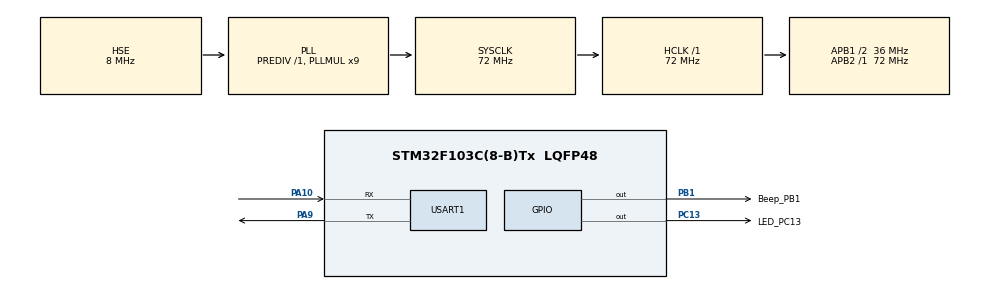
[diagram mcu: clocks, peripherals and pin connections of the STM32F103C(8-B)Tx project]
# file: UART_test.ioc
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Mcu.Family=STM32F1
Mcu.Name=STM32F103C(8-B)Tx
Mcu.Package=LQFP48
NVIC.PriorityGroup=NVIC_PRIORITYGROUP_4
NVIC.USART1_IRQn=true\:0\:0\:false\:false\:true\:true\:true\:true
PA10.Mode=Asynchronous
PA10.Signal=USART1_RX
PA13.Mode=Serial_Wire
PA13.Signal=SYS_JTMS-SWDIO
PA14.Mode=Serial_Wire
PA14.Signal=SYS_JTCK-SWCLK
PA9.Mode=Asynchronous
PA9.Signal=USART1_TX
PB1.GPIO_Label=Beep_PB1
PB1.PinState=GPIO_PIN_SET
PB1.Signal=GPIO_Output
PC13-TAMPER-RTC.GPIO_Label=LED_PC13
PC13-TAMPER-RTC.PinState=GPIO_PIN_SET
PC13-TAMPER-RTC.Signal=GPIO_Output
PC14-OSC32_IN.Mode=LSE-External-Oscillator
PC14-OSC32_IN.Signal=RCC_OSC32_IN
PC15-OSC32_OUT.Mode=LSE-External-Oscillator
PC15-OSC32_OUT.Signal=RCC_OSC32_OUT
PD0-OSC_IN.Mode=HSE-External-Oscillator
PD0-OSC_IN.Signal=RCC_OSC_IN
PD1-OSC_OUT.Mode=HSE-External-Oscillator
PD1-OSC_OUT.Signal=RCC_OSC_OUT
ProjectManager.HeapSize=0x200
ProjectManager.StackSize=0x400
ProjectManager.TargetToolchain=MDK-ARM V5.32
RCC.AHBFreq_Value=72000000
RCC.APB1CLKDivider=RCC_HCLK_DIV2
RCC.APB1Freq_Value=36000000
RCC.APB1TimFreq_Value=72000000
RCC.APB2Freq_Value=72000000
RCC.APB2TimFreq_Value=72000000
RCC.HCLKFreq_Value=72000000
RCC.PLLMUL=RCC_PLL_MUL9
RCC.PLLSourceVirtual=RCC_PLLSOURCE_HSE
RCC.SYSCLKFreq_VALUE=72000000
RCC.SYSCLKSource=RCC_SYSCLKSOURCE_PLLCLK
RCC.USBFreq_Value=72000000
USART1.VirtualMode=VM_ASYNC
board=custom

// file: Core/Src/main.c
/* USER CODE BEGIN Header */
/**
  ******************************************************************************
  * @file           : main.c
  * @brief          : Main program body
  ******************************************************************************
  * @attention
  *
  * Copyright (c) 2026 STMicroelectronics.
  * All rights reserved.
  *
  * This software is licensed under terms that can be found in the LICENSE file
  * in the root directory of this software component.
  * If no LICENSE file comes with this software, it is provided AS-IS.
  *
  ******************************************************************************
  */
/* USER CODE END Header */
#include "main.h"
#include "usart.h"
#include "gpio.h"

/* USER CODE BEGIN Includes */

#include <stdio.h>
#include <string.h>

/* USER CODE END Includes */

/* USER CODE BEGIN PD */

#define LED_Pin GPIO_PIN_13
#define LED_GPIO_Port GPIOC

#define BEEP_Pin GPIO_PIN_1
#define BEEP_GPIO_Port GPIOB

/* USER CODE END PD */

/* USER CODE BEGIN PV */

uint8_t rx_buffer[1];    // 单个字节接收缓冲区

uint8_t beep_on = 0;
uint32_t beep_start_time = 0;

/* USER CODE END PV */

void SystemClock_Config(void);

int main(void)
{

  /* MCU Configuration--------------------------------------------------------*/

  /* Reset of all peripherals, Initializes the Flash interface and the Systick. */
  HAL_Init();

  /* Configure the system clock */
  SystemClock_Config();

  /* Initialize all configured peripherals */
  MX_GPIO_Init();
  MX_USART1_UART_Init();
  /* USER CODE BEGIN 2 */
	HAL_UART_Receive_IT(&huart1, (uint8_t *)rx_buffer, 1);
	printf("STM32 UART 串口通信实验开始\r\n");
	printf("请输入任意字符，单片机将回显\r\n");

  /* USER CODE END 2 */

  /* Infinite loop */
  /* USER CODE BEGIN WHILE */
  while (1)
  {
		if(beep_on == 1)
		{
			if(HAL_GetTick() - beep_start_time >= 1000)
			{
				HAL_GPIO_WritePin(BEEP_GPIO_Port, BEEP_Pin, GPIO_PIN_SET);
				beep_on = 0;
			}
		}

    /* USER CODE END WHILE */

  }
}

void SystemClock_Config(void)
{
  RCC_OscInitTypeDef RCC_OscInitStruct = {0};
  RCC_ClkInitTypeDef RCC_ClkInitStruct = {0};

  /** Initializes the RCC Oscillators according to the specified parameters
  * in the RCC_OscInitTypeDef structure.
  */
  RCC_OscInitStruct.OscillatorType = RCC_OSCILLATORTYPE_HSE;
  RCC_OscInitStruct.HSEState = RCC_HSE_ON;
  RCC_OscInitStruct.HSEPredivValue = RCC_HSE_PREDIV_DIV1;
  RCC_OscInitStruct.HSIState = RCC_HSI_ON;
  RCC_OscInitStruct.PLL.PLLState = RCC_PLL_ON;
  RCC_OscInitStruct.PLL.PLLSource = RCC_PLLSOURCE_HSE;
  RCC_OscInitStruct.PLL.PLLMUL = RCC_PLL_MUL9;
  if (HAL_RCC_OscConfig(&RCC_OscInitStruct) != HAL_OK)
  {
    Error_Handler();
  }

  /** Initializes the CPU, AHB and APB buses clocks
  */
  RCC_ClkInitStruct.ClockType = RCC_CLOCKTYPE_HCLK|RCC_CLOCKTYPE_SYSCLK
                              |RCC_CLOCKTYPE_PCLK1|RCC_CLOCKTYPE_PCLK2;
  RCC_ClkInitStruct.SYSCLKSource = RCC_SYSCLKSOURCE_PLLCLK;
  RCC_ClkInitStruct.AHBCLKDivider = RCC_SYSCLK_DIV1;
  RCC_ClkInitStruct.APB1CLKDivider = RCC_HCLK_DIV2;
  RCC_ClkInitStruct.APB2CLKDivider = RCC_HCLK_DIV1;

  if (HAL_RCC_ClockConfig(&RCC_ClkInitStruct, FLASH_LATENCY_2) != HAL_OK)
  {
    Error_Handler();
  }
}

/* USER CODE BEGIN 4 */

// 重定向printf函数
int fputc(int ch, FILE *f)
{
  HAL_UART_Transmit(&huart1, (uint8_t *)&ch, 1, 1000);
  return ch;
}

//// 实验 6 - UART 基本收发实验

//void HAL_UART_RxCpltCallback(UART_HandleTypeDef *huart)
//{
//  if(huart->Instance == USART1)
//  {
//    // 回显接收到的字符
//    printf("收到字符:%c\r\n", rx_buffer[0]);
//    // 重新开启接收中断，准备接收下一个字节
//    HAL_UART_Receive_IT(&huart1, (uint8_t *)rx_buffer, 1);
//  }
//}

// 实验 7 - 串口指令控制外设

void HAL_UART_RxCpltCallback(UART_HandleTypeDef *huart)
{
  if(huart->Instance == USART1)
  {
    switch(rx_buffer[0])
    {
      case '1': // 指令1：点亮LED
        HAL_GPIO_WritePin(GPIOC, LED_PC13_Pin, GPIO_PIN_RESET);
        printf("执行指令：LED 点亮\r\n");
        break;
      case '2': // 指令2：熄灭LED
        HAL_GPIO_WritePin(GPIOC, LED_PC13_Pin, GPIO_PIN_SET);
        printf("执行指令：LED 熄灭\r\n");
        break;
//      case '3': // 指令3：蜂鸣器响
//        HAL_GPIO_WritePin(GPIOB, Beep_PB1_Pin, GPIO_PIN_RESET);
//        printf("执行指令：蜂鸣器响\r\n");
//        break;

			case '3': // 蜂鸣器响1秒
        HAL_GPIO_WritePin(BEEP_GPIO_Port, BEEP_Pin, GPIO_PIN_RESET);
        beep_start_time = HAL_GetTick();
        beep_on = 1;
        printf("执行指令：蜂鸣器响1秒\r\n");
        break;
			case '4': // 指令4：蜂鸣器不响
        HAL_GPIO_WritePin(GPIOB, Beep_PB1_Pin, GPIO_PIN_SET);
				printf("执行指令：蜂鸣器不响\r\n");
        break;
      default: // 未知指令
        printf("未知指令，请输入1、2、3、4\r\n");
        break;
    }
    // 重新开启接收中断
    HAL_UART_Receive_IT(&huart1, rx_buffer, 1);
  }
}

/* USER CODE END 4 */

void Error_Handler(void)
{
  __disable_irq();
  while (1)
  {
  }
}
